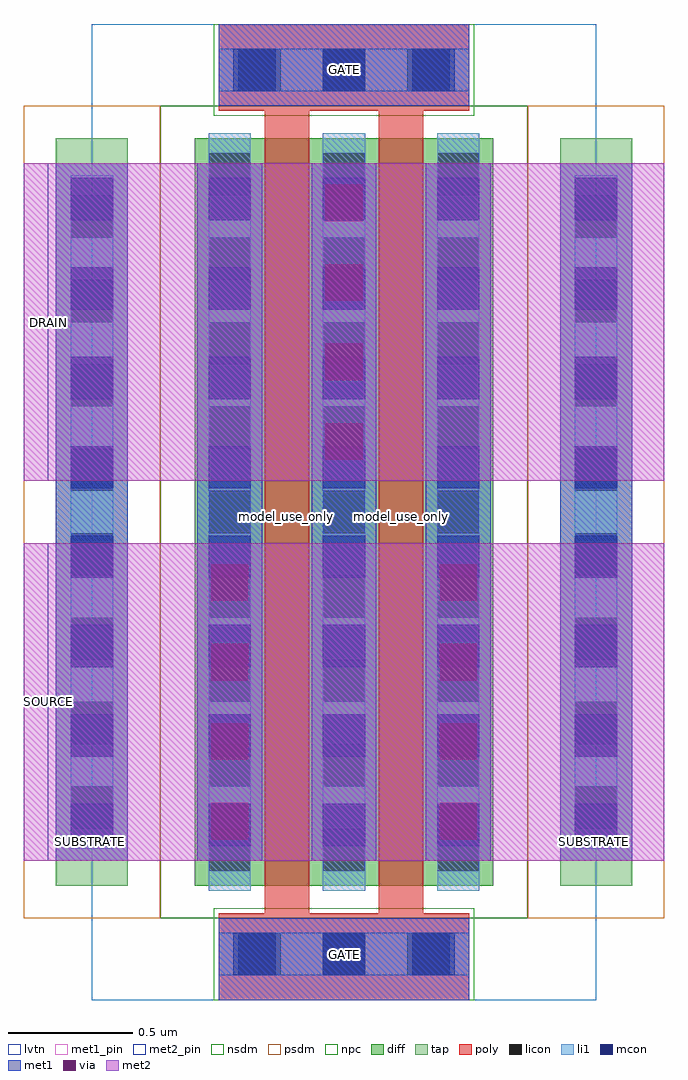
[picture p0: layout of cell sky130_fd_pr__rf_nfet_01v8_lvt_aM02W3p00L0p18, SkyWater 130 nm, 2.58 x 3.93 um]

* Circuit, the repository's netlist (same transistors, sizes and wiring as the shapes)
* Copyright 2020 The SkyWater PDK Authors
*
* Licensed under the Apache License, Version 2.0 (the "License");
* you may not use this file except in compliance with the License.
* You may obtain a copy of the License at
*
*     https://www.apache.org/licenses/LICENSE-2.0
*
* Unless required by applicable law or agreed to in writing, software
* distributed under the License is distributed on an "AS IS" BASIS,
* WITHOUT WARRANTIES OR CONDITIONS OF ANY KIND, either express or implied.
* See the License for the specific language governing permissions and
* limitations under the License.
*
* SPDX-License-Identifier: Apache-2.0


.subckt sky130_fd_pr__rf_nfet_01v8_lvt_aM02W3p00L0p18 DRAIN GATE SOURCE SUBSTRATE
X0 DRAIN GATE SOURCE SUBSTRATE sky130_fd_pr__nfet_01v8_lvt w=3.01e+06u l=180000u
X1 SOURCE GATE DRAIN SUBSTRATE sky130_fd_pr__nfet_01v8_lvt w=3.01e+06u l=180000u
.ends

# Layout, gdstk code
import gdstk
lib = gdstk.Library(unit=1e-6, precision=1e-09)
def R(c, l, rs):  # rectangles x0, y0, x1, y1
    for r in rs: c.add(gdstk.rectangle(r[:2], r[2:], *l))
def A(c, l, x, y, w, h, nx, ny, dx, dy):  # array of equal rectangles
    R(c, l, [(x+i*dx, y+j*dy, x+i*dx+w, y+j*dy+h) for i in range(nx) for j in range(ny)])
diff = (65, 20)
tap = (65, 44)
poly = (66, 20)
licon = (66, 44)
li1 = (67, 20)
mcon = (67, 44)
met1_pin = (68, 16)
met1 = (68, 20)
via = (68, 44)
met2_pin = (69, 16)
met2 = (69, 20)
nsdm = (93, 44)
psdm = (94, 20)
npc = (95, 20)
lvtn = (125, 44)

sky130_fd_pr__rf_nfet_01 = lib.new_cell('sky130_fd_pr__rf_nfet_01v8_lvt_aM02W3p00L0p18')
R(sky130_fd_pr__rf_nfet_01, diff, [(0.74,0.51,1.94,3.52)])
R(sky130_fd_pr__rf_nfet_01, tap, [(0.18,0.51,0.47,3.52), (2.21,0.51,2.5,3.52)])
R(sky130_fd_pr__rf_nfet_01, poly, [(0.835,0.05,1.845,0.4), (1.02,0.4,1.2,3.63), (1.48,0.4,1.66,3.63), (0.835,3.63,1.845,3.98)])
A(sky130_fd_pr__rf_nfet_01, licon, 0.915, 0.15, 0.17, 0.17, 3, 2, 0.34, 3.56)
A(sky130_fd_pr__rf_nfet_01, licon, 0.795, 0.57, 0.17, 0.17, 3, 9, 0.46, 0.34)
A(sky130_fd_pr__rf_nfet_01, licon, 0.24, 0.74, 0.17, 0.17, 1, 8, 0, 0.34)
A(sky130_fd_pr__rf_nfet_01, licon, 2.27, 0.74, 0.17, 0.17, 1, 8, 0, 0.34)
A(sky130_fd_pr__rf_nfet_01, li1, 0.795, 0.49, 0.17, 3.05, 3, 1, 0.46, 0)
A(sky130_fd_pr__rf_nfet_01, li1, 0.795, 0.67, 0.17, 2.69, 3, 1, 0.46, 0)
R(sky130_fd_pr__rf_nfet_01, li1, [(0.835,0.15,1.845,0.32), (0.895,0.15,1.785,0.32), (0.24,0.66,0.41,3.37), (2.27,0.66,2.44,3.37), (0.24,0.67,0.41,3.36), (2.27,0.67,2.44,3.36), (0.835,3.71,1.845,3.88), (0.895,3.71,1.785,3.88)])
A(sky130_fd_pr__rf_nfet_01, mcon, 0.895, 0.15, 0.17, 0.17, 3, 2, 0.36, 3.56)
A(sky130_fd_pr__rf_nfet_01, mcon, 0.24, 0.67, 0.17, 0.17, 1, 8, 0, 0.36)
A(sky130_fd_pr__rf_nfet_01, mcon, 0.795, 0.67, 0.17, 0.17, 3, 8, 0.46, 0.36)
A(sky130_fd_pr__rf_nfet_01, mcon, 2.27, 0.67, 0.17, 0.17, 1, 8, 0, 0.36)
R(sky130_fd_pr__rf_nfet_01, met1_pin, [(0.835,0.05,1.845,0.38), (0.18,0.61,0.47,0.69), (2.21,0.61,2.5,0.69), (0.835,3.65,1.845,3.98)])
A(sky130_fd_pr__rf_nfet_01, met1, 0.75, 0.61, 0.26, 2.81, 3, 1, 0.46, 0)
R(sky130_fd_pr__rf_nfet_01, met1, [(0.835,0.05,1.845,0.38), (0.18,0.61,0.47,3.42), (0.75,0.61,1.01,1.89), (1.67,0.61,1.93,1.89), (2.21,0.61,2.5,3.42), (1.21,2.14,1.47,3.42), (0.835,3.65,1.845,3.98)])
A(sky130_fd_pr__rf_nfet_01, via, 0.805, 0.695, 0.15, 0.15, 1, 4, 0, 0.32)
A(sky130_fd_pr__rf_nfet_01, via, 1.725, 0.695, 0.15, 0.15, 1, 4, 0, 0.32)
A(sky130_fd_pr__rf_nfet_01, via, 1.265, 2.225, 0.15, 0.15, 1, 4, 0, 0.32)
R(sky130_fd_pr__rf_nfet_01, met2_pin, [(0.05,0.61,0.15,1.89), (0.05,2.14,0.15,3.42)])
R(sky130_fd_pr__rf_nfet_01, met2, [(0.05,0.61,2.63,1.89), (0.75,0.61,1.01,1.89), (1.67,0.61,1.93,1.89), (0.05,2.14,2.63,3.42), (1.21,2.14,1.47,3.42)])
R(sky130_fd_pr__rf_nfet_01, nsdm, [(0.6,0.38,2.08,3.65)])
R(sky130_fd_pr__rf_nfet_01, psdm, [(0.05,0.38,0.6,3.65), (2.08,0.38,2.63,3.65)])
R(sky130_fd_pr__rf_nfet_01, npc, [(0.815,0.05,1.865,0.42), (0.815,3.61,1.865,3.98)])
R(sky130_fd_pr__rf_nfet_01, lvtn, [(0.325,0.05,2.355,3.98)])
sky130_fd_pr__rf_nfet_01.add(gdstk.Label('model_use_only', (1.11,1.995), layer=66, texttype=83))
sky130_fd_pr__rf_nfet_01.add(gdstk.Label('model_use_only', (1.57,1.995), layer=66, texttype=83))
sky130_fd_pr__rf_nfet_01.add(gdstk.Label('DRAIN', (0.15,2.78), layer=69, texttype=5))
sky130_fd_pr__rf_nfet_01.add(gdstk.Label('SOURCE', (0.15,1.25), layer=69, texttype=5))
sky130_fd_pr__rf_nfet_01.add(gdstk.Label('GATE', (1.34,3.795), layer=68, texttype=5))
sky130_fd_pr__rf_nfet_01.add(gdstk.Label('GATE', (1.34,0.235), layer=68, texttype=5))
sky130_fd_pr__rf_nfet_01.add(gdstk.Label('SUBSTRATE', (0.32,0.69), layer=68, texttype=5))
sky130_fd_pr__rf_nfet_01.add(gdstk.Label('SUBSTRATE', (2.35,0.69), layer=68, texttype=5))

lib.write_gds('sky130_fd_pr__rf_nfet_01v8_lvt_aM02W3p00L0p18.gds')
